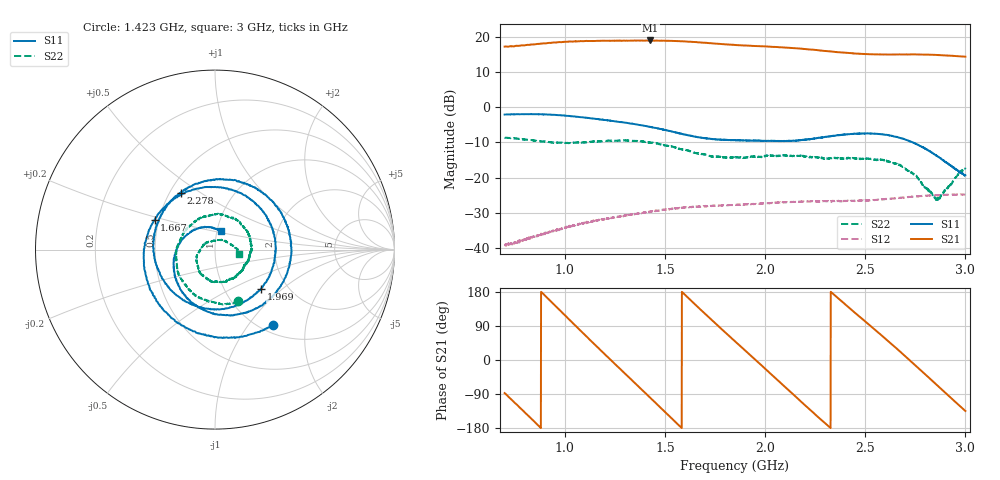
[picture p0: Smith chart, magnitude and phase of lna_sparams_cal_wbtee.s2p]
#  HZ  S  RI  R  50.00
! Rohde & Schwarz Vector Network Analyzer
! Rohde-Schwarz,ZNB20-2Port,1311601062102243,3.20
! Created: UTC 10/31/2022, 10:27:44 AM
! freq[Hz]  re:S11  im:S11  re:S21  im:S21  re:S12  im:S12  re:S22  im:S22
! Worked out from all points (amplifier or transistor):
!   2301 points, 700 MHz to 3 GHz, reference 50 ohm
!   highest |S21| = 19.1 dB at 1.428 GHz (marker M1)
!   |S21| within 3 dB of that: start of sweep to 2.299 GHz (the widest 1 of 2)
!   unconditionally stable (mu >= 1): start of sweep to end of sweep
!   at 1.083 GHz: K = 1.35, MAG = 22.4 dB, |S12| = -32.9 dB
!   at 1.85 GHz: K = 1.50, MAG = 18.6 dB, |S12| = -27.8 dB
!   at 3 GHz: K = 1.74, MAG = 14.7 dB, |S12| = -24.9 dB
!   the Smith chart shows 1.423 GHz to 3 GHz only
!   S11 on the Smith chart (normalised r, x): 1.423 GHz: 1.14, -1.31; 1.667 GHz: 0.47, +0.18; 1.969 GHz: 1.47, -0.73; 2.278 GHz: 0.57, +0.42; 3 GHz: 1.04, +0.22
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7e8  0.7726 0.169  0.3516 -7.352  -0.0104 -0.00319  0.1732 -0.3293
8.94e8  -0.2999 -0.7371  -8.147 0.8765  -0.00546 0.0149  -0.304 -0.1139
9.99e8  -0.7611 -0.0523  -4.236 7.534  0.00974 0.0165  -0.2518 0.1845
1.084e9  -0.5032 0.5197  2.261 8.51  0.0207 0.0068  -0.0393 0.3153
1.246e9  0.4515 0.4498  8.86 -1.224  0.0142 -0.0229  0.3206 0.0913
1.345e9  0.5734 -0.0898  4.73 -7.623  -0.00792 -0.0288  0.2871 -0.1704
1.423e9  0.3206 -0.4181  -1.234 -8.88  -0.0264 -0.0196  0.1298 -0.2874
1.428e9  0.2957 -0.4343  -1.612 -8.863  -0.0272 -0.0186  0.1158 -0.2922
1.467e9  0.1013 -0.4896  -4.492 -7.742  -0.0323 -0.00928  0.0257 -0.3021
1.568e9  -0.3356 -0.2703  -8.714 -1.313  -0.031 0.0199  -0.1577 -0.2056
1.667e9  -0.3362 0.1676  -6.369 5.604  -0.00633 0.0382  -0.2175 -0.0389
1.757e9  -0.0192 0.3475  -0.5818 8.094  0.0215 0.0334  -0.1789 0.0834
1.85e9  0.2854 0.1887  5.067 5.894  0.0396 0.00977  -0.0891 0.1679
1.969e9  0.2551 -0.2213  7.415 -0.9948  0.0325 -0.0272  0.0586 0.1901
2.106e9  -0.2123 -0.2559  1.955 -6.835  -0.00958 -0.0434  0.1893 0.0833
2.234e9  -0.3015 0.1898  -4.767 -4.656  -0.0434 -0.0149  0.1876 -0.0463
2.278e9  -0.192 0.3159  -5.952 -2.54  -0.0461 0.000623  0.176 -0.0717
2.462e9  0.3914 0.1614  -2.817 5.121  -0.00639 0.0464  0.0866 -0.1655
2.617e9  0.2348 -0.3261  3.762 4.26  0.0426 0.0257  -0.0416 -0.1636
2.768e9  -0.1982 -0.2078  5.249 -2.184  0.0436 -0.0318  -0.0925 -0.018
2.884e9  -0.1628 0.0774  1.079 -5.44  0.000158 -0.0562  0.0231 0.053
3e9  0.0322 0.1025  -3.707 -3.767  -0.0459 -0.034  0.1363 -0.0219
